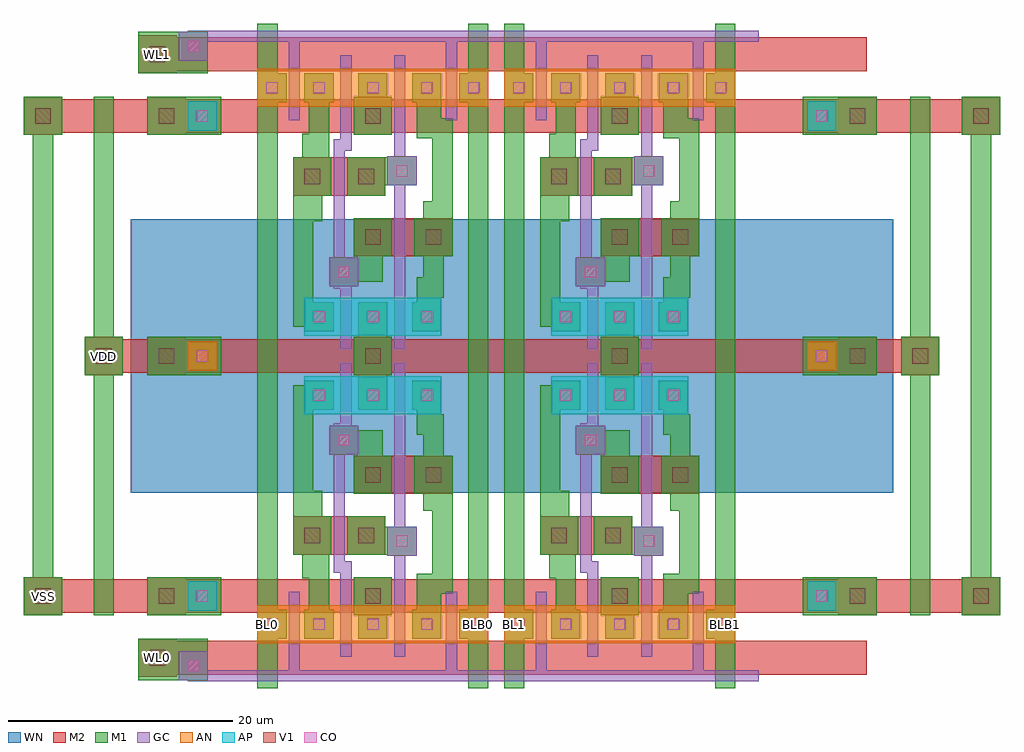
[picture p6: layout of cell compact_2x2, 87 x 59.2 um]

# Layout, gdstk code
import gdstk
lib = gdstk.Library(unit=1e-6, precision=1e-07)
def R(c, l, rs):  # rectangles x0, y0, x1, y1
    for r in rs: c.add(gdstk.rectangle(r[:2], r[2:], *l))
def A(c, l, x, y, w, h, nx, ny, dx, dy):  # array of equal rectangles
    R(c, l, [(x+i*dx, y+j*dy, x+i*dx+w, y+j*dy+h) for i in range(nx) for j in range(ny)])
def P(c, l, *ps):  # polygons
    for p in ps: c.add(gdstk.Polygon(p, *l))
AP = (3, 1)
AN = (3, 2)
GC = (8, 1)
CO = (11, 0)
M1 = (13, 0)
V1 = (19, 0)
M2 = (20, 0)
WN = (140, 0)

compact_core = lib.new_cell('compact_core')
R(compact_core, AP, [(3.5,18.7,15.7,22.1)])
R(compact_core, AN, [(-0.7,-1.7,19.9,1.7)])
R(compact_core, GC, [(0,-5.1,22,-4.1), (2.1,-5.1,3.1,2.9), (16.1,-5.1,17.1,2.9), (6.7,-2.9,7.7,5.6), (11.5,-2.9,12.5,23.3), (6.1,4.6,7.7,5.6), (6.1,4.6,7.1,17.9), (10.9,6.1,13.5,8.7), (11.5,6.9,12.7,7.9), (5.7,15.1,8.3,17.7), (6.1,15.9,7.5,16.9), (6.1,16.9,7.7,17.9), (6.7,16.9,7.7,23.3)])
A(compact_core, CO, 4.3, -0.5, 1, 1, 3, 2, 4.8, 20.4)
R(compact_core, CO, [(0.1,-0.5,1.1,0.5), (18.1,-0.5,19.1,0.5), (11.7,6.9,12.7,7.9), (6.5,15.9,7.5,16.9)])
P(compact_core, M1, [(8.3,-1.3),(8.3,0.8),(7.9,0.8),(7.9,4.2),(11.3,4.2),(11.3,0.8),(10.9,0.8),(10.9,-1.3)],
  [(10.9,6.1),(10.9,6.2),(7.3,6.2),(7.3,9.6),(10.7,9.6),(10.7,8.7),(13.5,8.7),(13.5,6.1)],
  [(7.9,11.6),(7.9,15.1),(5.7,15.1),(5.7,17.7),(8.3,17.7),(8.3,17.3),(10.5,17.3),(10.5,15),(11.3,15),(11.3,11.6)],
  [(3.5,-1.3),(3.5,1.3),(3.9,1.3),(3.9,4.1),(3.3,4.1),(3.3,6.2),(2.5,6.2),(2.5,21.3),(3.5,21.3),(3.5,21.7),(6.1,21.7),(6.1,19.1),(4.3,19.1),(4.3,11.9),(5.1,11.9),(5.1,9.6),(5.9,9.6),(5.9,6.2),(5.7,6.2),(5.7,1.3),(6.1,1.3),(6.1,-1.3)],
  [(13.1,-1.3),(13.1,1.3),(13.5,1.3),(13.5,4.5),(14.9,4.5),(14.9,10.1),(14.1,10.1),(14.1,11.6),(13.3,11.6),(13.3,15),(14.1,15),(14.1,16.9),(13.5,16.9),(13.5,19.1),(13.1,19.1),(13.1,21.7),(15.7,21.7),(15.7,18.7),(15.9,18.7),(15.9,15),(16.7,15),(16.7,2.7),(15.7,2.7),(15.7,-1.3)],
  [(-0.7,-5.7),(-0.7,23.9),(1.1,23.9),(1.1,1.3),(1.9,1.3),(1.9,-1.3),(1.1,-1.3),(1.1,-5.7)],
  [(18.1,-5.7),(18.1,-1.3),(17.3,-1.3),(17.3,1.3),(18.1,1.3),(18.1,23.9),(19.9,23.9),(19.9,-5.7)],
  [(8.3,19.1),(8.3,22.2),(7.9,22.2),(7.9,25.6),(11.3,25.6),(11.3,22.2),(10.9,22.2),(10.9,19.1)])
R(compact_core, V1, [(8.9,1.8,10.3,3.2), (3.5,7.2,4.9,8.6), (8.3,7.2,9.7,8.6), (8.9,12.6,10.3,14), (14.3,12.6,15.7,14), (8.9,23.2,10.3,24.6)])
R(compact_core, M2, [(0,-4.5,22,-1.5), (7.9,0.8,11.3,4.2), (0,1,22,4), (2.5,6.2,5.9,9.6), (2.5,6.2,10.7,9.6), (7.3,6.2,10.7,9.6), (7.9,11.6,11.3,15), (7.9,11.6,16.7,15), (13.3,11.6,16.7,15), (7.9,22.2,11.3,25.6), (0,22.4,22,25.4)])
R(compact_core, WN, [(-3.5,11.7,25.5,29.1)])

compact_2x2 = lib.new_cell('compact_2x2')
R(compact_2x2, AP, [(-6.9,6.9,-4.3,9.5), (48.3,6.9,50.9,9.5), (-6.9,49.7,-4.3,52.3), (48.3,49.7,50.9,52.3)])
R(compact_2x2, AN, [(-6.9,28.3,-4.3,30.9), (48.3,28.3,50.9,30.9)])
R(compact_2x2, GC, [(-6.9,0.6,-5.9,2.5), (-6.4,0.6,0,1.6), (-7.7,0.7,-5.1,3.3), (-7.7,55.9,-5.1,58.5), (-6.9,56.7,-5.9,58.6), (-6.4,57.6,0,58.6)])
A(compact_2x2, CO, -6.1, 7.7, 1, 1, 1, 3, 0, 21.4)
A(compact_2x2, CO, 49.1, 7.7, 1, 1, 1, 3, 0, 21.4)
R(compact_2x2, CO, [(-6.9,1.5,-5.9,2.5), (-6.9,56.7,-5.9,57.7)])
A(compact_2x2, M1, -10.5, 6.5, 3.4, 3.4, 1, 3, 0, 21.4)
A(compact_2x2, M1, -10.5, 6.5, 6.6, 3.4, 1, 3, 0, 21.4)
A(compact_2x2, M1, 47.9, 6.5, 6.6, 3.4, 1, 3, 0, 21.4)
A(compact_2x2, M1, 51.1, 6.5, 3.4, 3.4, 1, 3, 0, 21.4)
A(compact_2x2, M1, -6.9, 6.9, 2.6, 2.6, 1, 3, 0, 21.4)
A(compact_2x2, M1, 48.3, 6.9, 2.6, 2.6, 1, 3, 0, 21.4)
R(compact_2x2, M1, [(-11.3,0.7,-5.1,4.4), (-7.7,0.7,-5.1,3.3), (-11.3,1,-7.9,4.4), (-21.5,6.5,-18.1,9.9), (-20.7,6.5,-18.9,52.7), (-15.3,6.5,-13.5,52.7), (57.5,6.5,59.3,52.7), (62.1,6.5,65.5,9.9), (62.9,6.5,64.7,52.7), (-16.1,27.9,-12.7,31.3), (56.7,27.9,60.1,31.3), (-21.5,49.3,-18.1,52.7), (62.1,49.3,65.5,52.7), (-11.3,54.8,-7.9,58.2), (-11.3,54.8,-5.1,58.5), (-7.7,55.9,-5.1,58.5)])
A(compact_2x2, V1, -9.5, 7.5, 1.4, 1.4, 1, 3, 0, 21.4)
A(compact_2x2, V1, 52.1, 7.5, 1.4, 1.4, 1, 3, 0, 21.4)
R(compact_2x2, V1, [(-10.3,2,-8.9,3.4), (-20.5,7.5,-19.1,8.9), (63.1,7.5,64.5,8.9), (-15.1,28.9,-13.7,30.3), (57.7,28.9,59.1,30.3), (-20.5,50.3,-19.1,51.7), (63.1,50.3,64.5,51.7), (-10.3,55.8,-8.9,57.2)])
A(compact_2x2, M2, -10.5, 6.5, 3.4, 3.4, 1, 3, 0, 21.4)
A(compact_2x2, M2, 51.1, 6.5, 3.4, 3.4, 1, 3, 0, 21.4)
R(compact_2x2, M2, [(-11.3,1,-7.9,4.4), (-9.6,1.2,53.6,4.2), (-21.5,6.5,-18.1,9.9), (62.1,6.5,65.5,9.9), (-21.5,6.7,45.7,9.7), (-1.7,6.7,65.5,9.7), (-16.1,27.9,-12.7,31.3), (56.7,27.9,60.1,31.3), (-16.1,28.1,45.7,31.1), (-1.7,28.1,60.1,31.1), (-21.5,49.3,-18.1,52.7), (62.1,49.3,65.5,52.7), (-21.5,49.5,45.7,52.5), (-1.7,49.5,65.5,52.5), (-11.3,54.8,-7.9,58.2), (-9.6,55,53.6,58)])
R(compact_2x2, WN, [(-12,17.4,56,41.8), (0,17.4,56,41.8)])
compact_2x2.add(gdstk.Reference(compact_core, (0,5.7)))
compact_2x2.add(gdstk.Reference(compact_core, (22,5.7)))
compact_2x2.add(gdstk.Reference(compact_core, (0,53.5), x_reflection=True))
compact_2x2.add(gdstk.Reference(compact_core, (22,53.5), x_reflection=True))
compact_2x2.add(gdstk.Label('WL0', (-9.6,2.7), layer=49, texttype=0))
compact_2x2.add(gdstk.Label('WL1', (-9.6,56.5), layer=49, texttype=0))
compact_2x2.add(gdstk.Label('VDD', (-14.4,29.6), layer=48, texttype=0))
compact_2x2.add(gdstk.Label('VSS', (-19.8,8.2), layer=48, texttype=0))
compact_2x2.add(gdstk.Label('BL0', (0.2,5.7), layer=48, texttype=0))
compact_2x2.add(gdstk.Label('BLB0', (19,5.7), layer=48, texttype=0))
compact_2x2.add(gdstk.Label('BL1', (22.2,5.7), layer=48, texttype=0))
compact_2x2.add(gdstk.Label('BLB1', (41,5.7), layer=48, texttype=0))

lib.write_gds('compact_2x2.gds')
